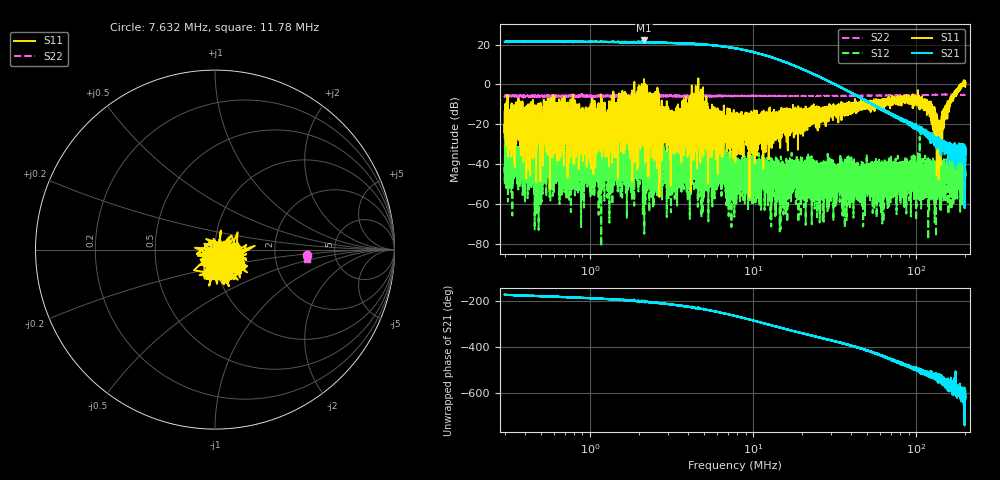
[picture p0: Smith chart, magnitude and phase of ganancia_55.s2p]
# Hz S DB R 50
! CMT, M5065, 19127446, 24.2.4/2
! Date: 11/1/2024 4:48:05 PM
! Data: Format (Calibration Info)
! Freq	S11:dB/Ang(F2)	S21:dB/Ang(F2)	S12:dB/Ang(F2)	S22:dB/Ang(F2)
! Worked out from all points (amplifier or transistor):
!   9000 points, 300 kHz to 200 MHz, reference 50 ohm
!   highest |S21| = 22.0 dB at 2.146 MHz (marker M1)
!   |S21| within 3 dB of that: start of sweep to 6.462 MHz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
!   unconditionally stable (mu >= 1): 5.145 MHz to 6.087 MHz; 6.088 MHz to 186.2 MHz; 186.4 MHz to 189.3 MHz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
!   at 886.8 kHz: K = 4.55, MAG = 22.6 dB, |S12| = -43.0 dB
!   at 7.749 MHz: K = 8.78, MAG = 19.5 dB, |S12| = -45.7 dB
!   at 200 MHz: K = -848.38, MSG = 4.2 dB, |S12| = -43.5 dB
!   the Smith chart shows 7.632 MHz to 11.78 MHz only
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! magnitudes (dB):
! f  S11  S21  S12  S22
! 300 kHz  -13.7  21.3  -45.0  -5.8
! 332.7 kHz  -20.4  21.4  -34.5  -6.0
! 886.8 kHz  -17.5  21.3  -43.0  -5.9
! 1.437 MHz  -18.3  21.3  -47.7  -5.9
! 1.542 MHz  -25.3  21.3  -32.0  -5.9
! 2.146 MHz  2.6  22.0  -47.9  -5.8
! 2.621 MHz  -17.4  21.0  -28.5  -5.9
! 3.104 MHz  -17.0  20.8  -32.9  -5.7
! 4.433 MHz  -17.5  20.1  -37.1  -6.0
! 7.749 MHz  -18.9  18.1  -45.7  -5.8
! 9.316 MHz  -19.0  16.7  -62.8  -5.9
! 22.91 MHz  -15.0  5.5  -39.9  -5.8
! 26.24 MHz  -12.1  3.4  -46.3  -5.8
! 33.89 MHz  -10.5  -1.2  -41.5  -5.8
! 36.29 MHz  -11.5  -2.5  -42.2  -5.8
! 42.7 MHz  -11.5  -5.6  -45.7  -5.7
! 46.4 MHz  -10.1  -7.2  -55.9  -5.7
! 67.71 MHz  -9.8  -14.7  -47.5  -5.5
! 115.8 MHz  -8.4  -26.6  -51.8  -5.3
! 139.1 MHz  -24.0  -30.0  -42.8  -5.2
! 160.4 MHz  -8.8  -29.6  -44.8  -5.2
! 200 MHz  1.1  -35.1  -43.5  -5.3
